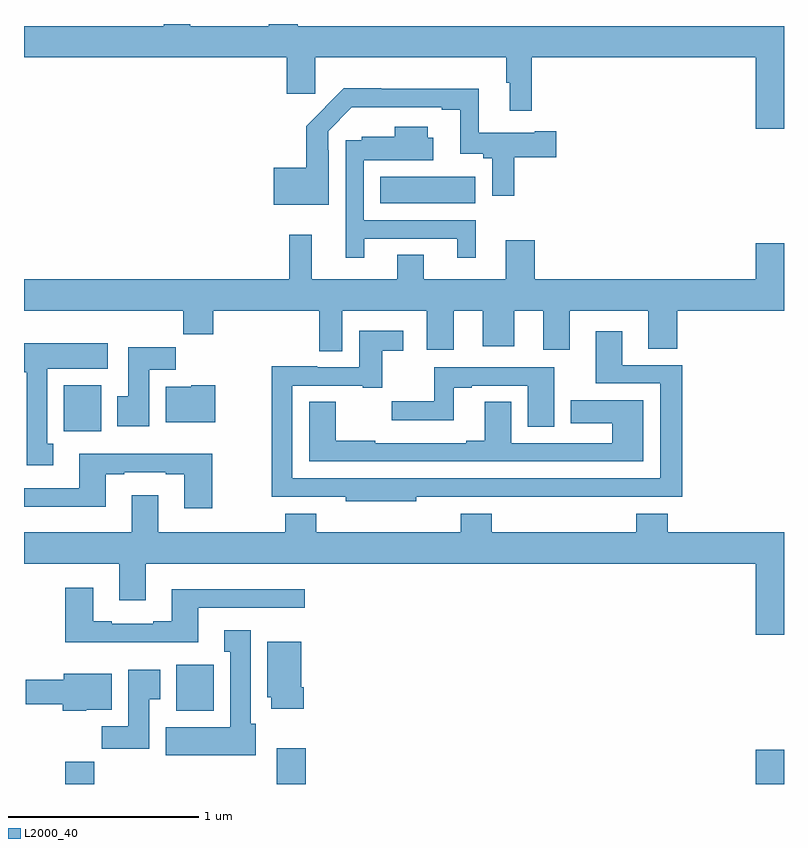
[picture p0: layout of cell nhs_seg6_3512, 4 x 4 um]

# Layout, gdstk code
import gdstk
lib = gdstk.Library(unit=1e-6, precision=1e-09)
def R(c, l, rs):  # rectangles x0, y0, x1, y1
    for r in rs: c.add(gdstk.rectangle(r[:2], r[2:], *l))
def P(c, l, *ps):  # polygons
    for p in ps: c.add(gdstk.Polygon(p, *l))
L2000_40 = (2000, 40)

nhs_seg6_3512 = lib.new_cell('nhs_seg6_3512')
R(nhs_seg6_3512, L2000_40, [(317.218,955.5,317.369,955.616), (318.329,955.5,318.482,955.687), (320.852,955.5,321,955.681), (317.801,955.886,317.998,956.128), (317.21,957.356,317.407,957.598), (318.874,958.556,319.375,958.696)])
P(nhs_seg6_3512, L2000_40, [(321,959.488),(318.44,959.488),(318.44,959.5),(318.287,959.5),(318.287,959.488),(317.875,959.488),(317.875,959.5),(317.735,959.5),(317.735,959.488),(317,959.488),(317,959.324),(318.383,959.324),(318.383,959.133),(318.533,959.133),(318.533,959.324),(319.537,959.324),(319.537,959.192),(319.556,959.192),(319.556,959.043),(319.673,959.043),(319.673,959.324),(320.852,959.324),(320.852,958.95),(321,958.95)],
  [(318.603,958.835),(318.6,958.835),(318.6,958.935),(318.726,959.061),(319.199,959.061),(319.199,959.049),(319.295,959.049),(319.295,958.817),(319.416,958.817),(319.416,958.793),(319.464,958.793),(319.464,958.596),(319.58,958.596),(319.58,958.798),(319.801,958.798),(319.801,958.935),(319.688,958.935),(319.688,958.927),(319.393,958.927),(319.393,959.158),(318.881,959.158),(318.881,959.161),(318.682,959.161),(318.485,958.963),(318.485,958.744),(318.314,958.744),(318.314,958.55),(318.603,958.55)],
  [(318.79,958.371),(319.28,958.371),(319.28,958.269),(319.378,958.269),(319.378,958.467),(318.789,958.467),(318.789,958.784),(319.153,958.784),(319.153,958.902),(319.126,958.902),(319.126,958.96),(318.95,958.96),(318.95,958.906),(318.777,958.906),(318.777,958.887),(318.693,958.887),(318.693,958.269),(318.79,958.269)],
  [(318.676,957.992),(319.121,957.992),(319.121,957.786),(319.261,957.786),(319.261,957.992),(319.415,957.992),(319.415,957.804),(319.579,957.804),(319.579,957.992),(319.733,957.992),(319.733,957.786),(319.873,957.786),(319.873,957.992),(320.285,957.992),(320.285,957.79),(320.438,957.79),(320.438,957.992),(321,957.992),(321,958.345),(320.852,958.345),(320.852,958.156),(319.688,958.156),(319.688,958.363),(319.535,958.363),(319.535,958.156),(319.105,958.156),(319.105,958.286),(318.965,958.286),(318.965,958.156),(318.515,958.156),(318.515,958.39),(318.397,958.39),(318.397,958.156),(317,958.156),(317,957.992),(317.839,957.992),(317.839,957.868),(317.996,957.868),(317.996,957.992),(318.555,957.992),(318.555,957.778),(318.676,957.778)],
  [(319.065,957.012),(319.546,957.012),(319.546,957.011),(320.138,957.011),(320.138,957.012),(320.465,957.012),(320.465,957.705),(320.149,957.705),(320.149,957.883),(320.009,957.883),(320.009,957.609),(320.349,957.609),(320.349,957.108),(318.411,957.108),(318.411,957.597),(318.782,957.597),(318.782,957.585),(318.886,957.585),(318.886,957.78),(318.997,957.78),(318.997,957.886),(318.764,957.886),(318.764,957.693),(318.543,957.693),(318.543,957.698),(318.303,957.698),(318.303,957.012),(318.693,957.012),(318.693,956.987),(319.065,956.987)],
  [(317.155,957.29),(317.122,957.29),(317.122,957.686),(317.44,957.686),(317.44,957.82),(317,957.82),(317,957.666),(317.015,957.666),(317.015,957.177),(317.155,957.177)],
  [(317.659,957.68),(317.798,957.68),(317.798,957.799),(317.549,957.799),(317.549,957.54),(317.492,957.54),(317.492,957.384),(317.659,957.384)],
  [(319.792,957.693),(319.159,957.693),(319.159,957.515),(318.936,957.515),(318.936,957.414),(319.261,957.414),(319.261,957.585),(319.357,957.585),(319.357,957.597),(319.652,957.597),(319.652,957.379),(319.792,957.379)],
  [(318.006,957.598),(317.88,957.598),(317.88,957.592),(317.747,957.592),(317.747,957.404),(318.006,957.404)],
  [(320.26,957.52),(319.877,957.52),(319.877,957.398),(320.096,957.398),(320.096,957.294),(319.564,957.294),(319.564,957.512),(319.424,957.512),(319.424,957.307),(319.328,957.307),(319.328,957.294),(318.848,957.294),(318.848,957.307),(318.64,957.307),(318.64,957.512),(318.5,957.512),(318.5,957.198),(320.26,957.198)],
  [(317.991,957.238),(317.291,957.238),(317.291,957.057),(317,957.057),(317,956.96),(317.431,956.96),(317.431,957.129),(317.527,957.129),(317.527,957.141),(317.747,957.141),(317.747,957.129),(317.843,957.129),(317.843,956.952),(317.991,956.952)],
  [(321,956.824),(320.387,956.824),(320.387,956.923),(320.222,956.923),(320.222,956.824),(319.463,956.824),(319.463,956.923),(319.298,956.923),(319.298,956.824),(318.539,956.824),(318.539,956.923),(318.374,956.923),(318.374,956.824),(317.707,956.824),(317.707,957.019),(317.567,957.019),(317.567,956.824),(317,956.824),(317,956.66),(317.501,956.66),(317.501,956.466),(317.641,956.466),(317.641,956.66),(320.852,956.66),(320.852,956.286),(321,956.286)],
  [(317.917,956.427),(318.478,956.427),(318.478,956.524),(317.777,956.524),(317.777,956.356),(317.681,956.356),(317.681,956.343),(317.461,956.343),(317.461,956.356),(317.365,956.356),(317.365,956.533),(317.218,956.533),(317.218,956.246),(317.917,956.246)],
  [(318.22,955.818),(318.193,955.818),(318.193,956.308),(318.053,956.308),(318.053,956.195),(318.086,956.195),(318.086,955.798),(317.747,955.798),(317.747,955.652),(318.22,955.652)],
  [(318.473,956.008),(318.46,956.008),(318.46,956.248),(318.281,956.248),(318.281,955.956),(318.302,955.956),(318.302,955.896),(318.473,955.896)],
  [(317.659,955.945),(317.716,955.945),(317.716,956.101),(317.549,956.101),(317.549,955.804),(317.41,955.804),(317.41,955.686),(317.659,955.686)],
  [(317.328,955.892),(317.461,955.892),(317.461,956.08),(317.21,956.08),(317.21,956.05),(317.01,956.05),(317.01,955.921),(317.203,955.921),(317.203,955.886),(317.328,955.886)])

lib.write_gds('nhs_seg6_3512.gds')
